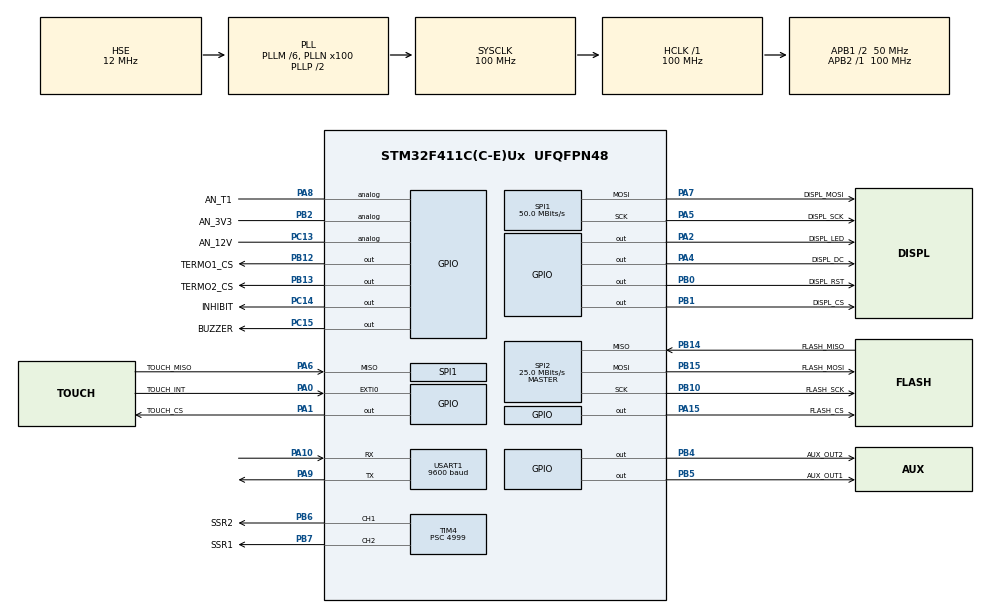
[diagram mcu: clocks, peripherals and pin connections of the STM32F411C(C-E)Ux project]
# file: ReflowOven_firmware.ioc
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Dma.Request0=SPI1_TX
Dma.SPI1_TX.0.Direction=DMA_MEMORY_TO_PERIPH
Dma.SPI1_TX.0.FIFOMode=DMA_FIFOMODE_DISABLE
Dma.SPI1_TX.0.Instance=DMA2_Stream2
Dma.SPI1_TX.0.MemDataAlignment=DMA_MDATAALIGN_BYTE
Dma.SPI1_TX.0.MemInc=DMA_MINC_ENABLE
Dma.SPI1_TX.0.Mode=DMA_NORMAL
Dma.SPI1_TX.0.PeriphDataAlignment=DMA_PDATAALIGN_BYTE
Dma.SPI1_TX.0.PeriphInc=DMA_PINC_DISABLE
Dma.SPI1_TX.0.Priority=DMA_PRIORITY_LOW
Mcu.Family=STM32F4
Mcu.Name=STM32F411C(C-E)Ux
Mcu.Package=UFQFPN48
NVIC.DMA2_Stream2_IRQn=true\:0\:0\:false\:false\:true\:false\:true\:true
NVIC.EXTI0_IRQn=true\:0\:0\:false\:false\:true\:true\:true\:true
NVIC.PriorityGroup=NVIC_PRIORITYGROUP_4
NVIC.SPI1_IRQn=true\:0\:0\:false\:false\:true\:true\:true\:true
NVIC.TIM2_IRQn=true\:0\:0\:false\:false\:true\:true\:true\:true
NVIC.TIM3_IRQn=true\:0\:0\:false\:false\:true\:true\:true\:true
NVIC.USART1_IRQn=true\:0\:0\:false\:false\:true\:true\:true\:true
PA0-WKUP.GPIO_Label=TOUCH_INT
PA0-WKUP.GPIO_PuPd=GPIO_PULLUP
PA0-WKUP.Signal=GPXTI0
PA1.GPIO_Label=TOUCH_CS
PA1.GPIO_PuPd=GPIO_NOPULL
PA1.GPIO_Speed=GPIO_SPEED_FREQ_HIGH
PA1.PinState=GPIO_PIN_SET
PA1.Signal=GPIO_Output
PA10.Mode=Asynchronous
PA10.Signal=USART1_RX
PA13.Mode=Serial_Wire
PA13.Signal=SYS_JTMS-SWDIO
PA14.Mode=Serial_Wire
PA14.Signal=SYS_JTCK-SWCLK
PA15.GPIO_Label=FLASH_CS
PA15.GPIO_Speed=GPIO_SPEED_FREQ_LOW
PA15.PinState=GPIO_PIN_SET
PA15.Signal=GPIO_Output
PA2.GPIO_Label=DISPL_LED
PA2.Signal=GPIO_Output
PA4.GPIO_Label=DISPL_DC
PA4.GPIO_Speed=GPIO_SPEED_FREQ_LOW
PA4.Signal=GPIO_Output
PA5.GPIO_Label=DISPL_SCK
PA5.Mode=Full_Duplex_Master
PA5.Signal=SPI1_SCK
PA6.GPIO_Label=TOUCH_MISO
PA6.Mode=Full_Duplex_Master
PA6.Signal=SPI1_MISO
PA7.GPIO_Label=DISPL_MOSI
PA7.Mode=Full_Duplex_Master
PA7.Signal=SPI1_MOSI
PA8.GPIO_Label=AN_T1
PA8.Signal=GPIO_Analog
PA9.Mode=Asynchronous
PA9.Signal=USART1_TX
PB0.GPIO_Label=DISPL_RST
PB0.GPIO_Speed=GPIO_SPEED_FREQ_VERY_HIGH
PB0.Signal=GPIO_Output
PB1.GPIO_Label=DISPL_CS
PB1.GPIO_PuPd=GPIO_NOPULL
PB1.GPIO_Speed=GPIO_SPEED_FREQ_HIGH
PB1.PinState=GPIO_PIN_SET
PB1.Signal=GPIO_Output
PB10.GPIO_Label=FLASH_SCK
PB10.Mode=Full_Duplex_Master
PB10.Signal=SPI2_SCK
PB12.GPIO_Label=TERMO1_CS
PB12.PinState=GPIO_PIN_SET
PB12.Signal=GPIO_Output
PB13.GPIO_Label=TERMO2_CS
PB13.PinState=GPIO_PIN_SET
PB13.Signal=GPIO_Output
PB14.GPIO_Label=FLASH_MISO
PB14.Mode=Full_Duplex_Master
PB14.Signal=SPI2_MISO
PB15.GPIO_Label=FLASH_MOSI
PB15.Mode=Full_Duplex_Master
PB15.Signal=SPI2_MOSI
PB2.GPIO_Label=AN_3V3
PB2.Signal=GPIO_Analog
PB4.GPIO_Label=AUX_OUT2
PB4.Signal=GPIO_Output
PB5.GPIO_Label=AUX_OUT1
PB5.Signal=GPIO_Output
PB6.GPIO_Label=SSR2
PB6.GPIO_Speed=GPIO_SPEED_FREQ_MEDIUM
PB6.Signal=S_TIM4_CH1
PB7.GPIO_Label=SSR1
PB7.GPIO_Speed=GPIO_SPEED_FREQ_MEDIUM
PB7.Signal=S_TIM4_CH2
PC13-ANTI_TAMP.GPIO_Label=AN_12V
PC13-ANTI_TAMP.Signal=GPIO_Analog
PC14-OSC32_IN.GPIO_Label=INHIBIT
PC14-OSC32_IN.Signal=GPIO_Output
PC15-OSC32_OUT.GPIO_Label=BUZZER
PC15-OSC32_OUT.Signal=GPIO_Output
PH0\ -\ OSC_IN.Mode=HSE-External-Oscillator
PH0\ -\ OSC_IN.Signal=RCC_OSC_IN
PH1\ -\ OSC_OUT.Mode=HSE-External-Oscillator
PH1\ -\ OSC_OUT.Signal=RCC_OSC_OUT
ProjectManager.HeapSize=0x200
ProjectManager.StackSize=0x400
ProjectManager.TargetToolchain=STM32CubeIDE
RCC.48MHZClocksFreq_Value=25000000
RCC.AHBFreq_Value=100000000
RCC.APB1CLKDivider=RCC_HCLK_DIV2
RCC.APB1Freq_Value=50000000
RCC.APB1TimFreq_Value=100000000
RCC.APB2Freq_Value=100000000
RCC.APB2TimFreq_Value=100000000
RCC.CortexFreq_Value=100000000
RCC.HCLKFreq_Value=100000000
RCC.HSE_VALUE=12000000
RCC.HSI_VALUE=16000000
RCC.LSE_VALUE=32768
RCC.PLLM=6
RCC.PLLN=100
RCC.PLLQ=8
RCC.PLLSourceVirtual=RCC_PLLSOURCE_HSE
RCC.SYSCLKFreq_VALUE=100000000
RCC.SYSCLKSource=RCC_SYSCLKSOURCE_PLLCLK
RCC.VCOOutputFreq_Value=200000000
SH.S_TIM4_CH1.0=TIM4_CH1,PWM Generation1 CH1
SH.S_TIM4_CH2.0=TIM4_CH2,PWM Generation2 CH2
SPI1.CalculateBaudRate=50.0 MBits/s
SPI1.Direction=SPI_DIRECTION_2LINES
SPI1.Mode=SPI_MODE_MASTER
SPI1.VirtualType=VM_MASTER
SPI2.CalculateBaudRate=25.0 MBits/s
SPI2.Direction=SPI_DIRECTION_2LINES
SPI2.Mode=SPI_MODE_MASTER
SPI2.VirtualType=VM_MASTER
STMicroelectronics.X-CUBE-TOUCHGFX.4.25.0.ApplicationCcGraphicsJjApplication=TouchGFXOoGenerator
STMicroelectronics.X-CUBE-TOUCHGFX.4.25.0.tgfx_buffering_strategy=Partial
STMicroelectronics.X-CUBE-TOUCHGFX.4.25.0.tgfx_custom_height=320
STMicroelectronics.X-CUBE-TOUCHGFX.4.25.0.tgfx_custom_width=480
STMicroelectronics.X-CUBE-TOUCHGFX.4.25.0.tgfx_datareader=Enabled
STMicroelectronics.X-CUBE-TOUCHGFX.4.25.0.tgfx_datareader_mem_size=2097152
STMicroelectronics.X-CUBE-TOUCHGFX.4.25.0_IsPackSelfContextualization=true
TIM2.AutoReloadPreload=TIM_AUTORELOAD_PRELOAD_DISABLE
TIM2.Channel-PWM\ Generation3\ CH3=TIM_CHANNEL_3
TIM2.Period=4000
TIM2.Prescaler=4999
TIM3.AutoReloadPreload=TIM_AUTORELOAD_PRELOAD_ENABLE
TIM3.Period=62499
TIM4.AutoReloadPreload=TIM_AUTORELOAD_PRELOAD_ENABLE
TIM4.Channel-PWM\ Generation1\ CH1=TIM_CHANNEL_1
TIM4.Channel-PWM\ Generation2\ CH2=TIM_CHANNEL_2
TIM4.OCPolarity_1=TIM_OCPOLARITY_HIGH
TIM4.OCPolarity_2=TIM_OCPOLARITY_HIGH
TIM4.Period=19999
TIM4.Prescaler=4999
USART1.BaudRate=9600
USART1.VirtualMode=VM_ASYNC
VP_CRC_VS_CRC.Mode=CRC_Activate
VP_STMicroelectronics.X-CUBE-TOUCHGFX_VS_GraphicsJjApplication_4.25.0.Mode=GraphicsJjApplication
VP_TIM2_VS_ClockSourceINT.Mode=Internal
VP_TIM3_VS_ClockSourceINT.Mode=Internal
VP_TIM4_VS_ClockSourceINT.Mode=Internal
board=custom

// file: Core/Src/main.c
/* USER CODE BEGIN Header */
/**
  ******************************************************************************
  * @file           : main.c
  * @brief          : Main program body
  ******************************************************************************
  * @attention
  *
  * Copyright (c) 2024 STMicroelectronics.
  * All rights reserved.
  *
  * This software is licensed under terms that can be found in the LICENSE file
  * in the root directory of this software component.
  * If no LICENSE file comes with this software, it is provided AS-IS.
  *
  ******************************************************************************
  */
/* USER CODE END Header */
#include "main.h"
#include "app_touchgfx.h"

CRC_HandleTypeDef hcrc;

SPI_HandleTypeDef hspi1;
SPI_HandleTypeDef hspi2;
DMA_HandleTypeDef hdma_spi1_tx;

TIM_HandleTypeDef htim2;
TIM_HandleTypeDef htim3;
TIM_HandleTypeDef htim4;

UART_HandleTypeDef huart1;

void SystemClock_Config(void);
static void MX_GPIO_Init(void);
static void MX_DMA_Init(void);
static void MX_USART1_UART_Init(void);
static void MX_SPI1_Init(void);
static void MX_CRC_Init(void);
static void MX_SPI2_Init(void);
static void MX_TIM3_Init(void);
static void MX_TIM2_Init(void);
static void MX_TIM4_Init(void);
/* USER CODE BEGIN PFP */
// Define structs
Thermocouple thermocouple1;
Thermocouple thermocouple2;

/* USER CODE END PFP */

/* USER CODE BEGIN 0 */

// Default values for oven preset
OvenParameters ovenParameters = {

		// device operating variables
		.initEnd = 0,
		.deviceState = 0,
		.pageChageNo = 0,
		.reflowSetupStep = 0,
		.pidSetupStep = 0,
		.tempNTC = 0.0f,
		.tempThermo = 0.0f,
		.PID_trig = 0,
		.saveFlash = 0,
		.reflowStage = 0,
		.tempSPDelta = 0,
		.setpointCal = 1,
		.totalReflowTime = 0,
		.endTimeStage = 1,
		.tempThermoAvg = 0,
		.addPoint = 0,
		.profileNoEdit = 0,

		// retentive variables
		.Kp = 10.0f,	// 3.96
		.Ki = 0.1f,		// 0.078
		.Kd = 4.5f,		// 49.5
		.profileNoSelected = 2,
		.lastUsedMode = 0,

		.dualProbes = 0,
		.dualSSRs = 0,
		.units = 0,
		.AUX1 = 0,
		.AUX2 = 0,
		.firstBoot = 0,

		// device runing variables
		.startStop = 0,
		.actionTick = 0,
		.cntTimerTick = 0,
		.cntSecond = 0,
		.cntMinute = 0,
		.cntHour = 0
};

// Default values for profiles
ReflowProfiles reflowProfiles = {
		.profile1Temp = {150, 160, 210, 210, 20},
		.profile1Time = {120, 140, 390, 400, 450},

		.profile2Temp = {100, 150, 183, 183, 20},
		.profile2Time = {100, 220, 280, 340, 400},

		.profile3Temp = {100, 150, 183, 183, 20},
		.profile3Time = {100, 220, 280, 340, 400},

		.profile4Temp = {100, 150, 183, 183, 20},
		.profile4Time = {100, 220, 280, 340, 400},

		.profile5Temp = {100, 150, 183, 183, 20},
		.profile5Time = {100, 220, 280, 340, 400}
};

// Default values for drying
DryPreset dryPreset = {
		.dryTemp = 100,
		.dryTime = 60
};

// Default values for error codes
OvenErrorCodes ovenErrorCodes = {
		.ADC12V = 0,
		.ADC3V3 = 0,
		.NTCErr = 0,
		.thermoCouple1Err = 0,
		.thermoCouple2Err = 0
};

// variables init
float AN_V_12V = 0;				// Measured 12V voltage
float AN_V_3V3 = 0;				// Measured 3.3V voltage
uint8_t INHIBIT = 0;			// enable 12V bus

uint8_t saveToFlash = 0;		// protect writing to flash every time (connected with KEEP_FLASH_DATA)
float tempAVG1[5] = {};			// values of temp from thermocouple 1 in one second to calculate average value
float tempAVG2[5] = {};			// values of temp from thermocouple 2 in one second to calculate average value
uint8_t cntTempArray = 0;		// counter for temperature array
uint8_t endOfCycle = 0;			// flag to indicate the end of drying or reflow
float startingTemp = 0; 		// used to set setpoints
uint16_t endTemp = 0;			// temperature expected at the end of each step
uint8_t thermalRnwyCnt = 0;		// counter for thermal runaway time - one tick is one second
uint16_t rnwyTempOld = 0;		// previous temp value for detecting thermal runaways

/* USER CODE END 0 */

int main(void)
{

  /* USER CODE BEGIN 1 */

	// TODO: Celsius -> Fahrenheit

	// PID parameters
	PID pid;
	PIDInit(&pid);

  /* USER CODE END 1 */

  /* MCU Configuration--------------------------------------------------------*/

  /* Reset of all peripherals, Initializes the Flash interface and the Systick. */
  HAL_Init();

  /* Configure the system clock */
  SystemClock_Config();

  /* Initialize all configured peripherals */
  MX_GPIO_Init();
  MX_DMA_Init();
  MX_USART1_UART_Init();
  MX_SPI1_Init();
  MX_CRC_Init();
  MX_SPI2_Init();
  MX_TIM3_Init();
  MX_TIM2_Init();
  MX_TIM4_Init();
  MX_TouchGFX_Init();
  /* USER CODE BEGIN 2 */

  // Set default state of CS and other pins
  HAL_GPIO_WritePin(TOUCH_CS_GPIO_Port, TOUCH_CS_Pin, GPIO_PIN_SET);
  HAL_GPIO_WritePin(DISPL_CS_GPIO_Port, DISPL_CS_Pin, GPIO_PIN_SET);
  HAL_GPIO_WritePin(FLASH_CS_GPIO_Port, FLASH_CS_Pin, GPIO_PIN_SET);
  HAL_GPIO_WritePin(TERMO1_CS_GPIO_Port, TERMO1_CS_Pin, GPIO_PIN_SET);
  HAL_GPIO_WritePin(TERMO2_CS_GPIO_Port, TERMO2_CS_Pin, GPIO_PIN_SET);
  HAL_GPIO_WritePin(AUX_OUT1_GPIO_Port, AUX_OUT1_Pin, GPIO_PIN_RESET);
  HAL_GPIO_WritePin(AUX_OUT2_GPIO_Port, AUX_OUT2_Pin, GPIO_PIN_RESET);
  HAL_GPIO_WritePin(DISPL_LED_GPIO_Port, DISPL_LED_Pin, GPIO_PIN_SET);

  Displ_Init(Displ_Orientat_90);			// initialize display controller - set orientation parameter as per TouchGFX setup
  Displ_BackLight('I');  					// initialize backlight
  touchgfxSignalVSync();
  HAL_TIM_Base_Start_IT(&TGFX_T);			// start TouchGFX tick timer

  /* USER CODE END 2 */

  /* Infinite loop */
  /* USER CODE BEGIN WHILE */

  while (1)
  {

	  if (Touch_GotATouch(0))
		  touchgfxSignalVSync();
    /* USER CODE END WHILE */

  MX_TouchGFX_Process();
    /* USER CODE BEGIN 3 */

	  // Timer interrupt trigger (5Hz)
	  if (ovenParameters.actionTick == 1)
	  {
		  // To start timer the device must be in run mode (startStop = 1)
		  if (ovenParameters.startStop == 1)
		  {
			  // Ticks to seconds
			  // that part of code is implemented in interrupt routine becouse of precision

			  // Seconds to minutes
			  if (ovenParameters.cntSecond >= secInMin)
			  {
				  ovenParameters.cntSecond = 0;
				  ovenParameters.cntMinute ++;

				// THERMAL RUNAWAY LOGIC //
				/* if the device has enabled one or both SSRs and
				 * the temperature doesn't reach setted delta temerature
				 * the error is triggered
				*/
				#ifdef THERMAL_RUNAWAY_EN
				  rnwyTempOld = ovenParameters.tempThermoAvg;

				  if (ovenParameters.dualSSRs == 0)				 // The value can be adjusted
				  {
					  if (TIM4->CCR2 > 5000)
					  {
						  thermalRnwyCnt = ((rnwyTempOld - ovenParameters.tempThermoAvg) < RUNAWAY_TEMP) ? (thermalRnwyCnt + 1) : 0;
					  }
				  }
				  else
				  {
					  if (TIM4->CCR2 > 5000 || TIM4->CCR1 > 5000) // The value can be adjusted
					  {
						  thermalRnwyCnt = ((rnwyTempOld - ovenParameters.tempThermoAvg) < RUNAWAY_TEMP) ? (thermalRnwyCnt + 1) : 0;
					  }
				  }

				  // trigger the thermal runaway error
				  if (thermalRnwyCnt >= RUNAWAY_TIME)
				  {
					  ovenErrorCodes.thermalRunaway ++;
					  ovenParameters.deviceState = STATE_ERROR;
				  }

				  rnwyTempOld = ovenParameters.tempThermoAvg;	 // save current temp as old temp
				#endif
			  }

			  // Minutes to hours
			  if (ovenParameters.cntMinute >= minInH)
			  {
				  ovenParameters.cntMinute = 0;
				  ovenParameters.cntHour ++;
			  }

			  if (ovenParameters.deviceState == STATE_DRY)
			  {
				  uint32_t timeDryEst = dryPreset.dryTime - (ovenParameters.cntHour * 60 + ovenParameters.cntMinute);
				  if (timeDryEst == 0 && ovenParameters.startStop == 1 && (ovenParameters.cntHour != 0 || ovenParameters.cntMinute != 0)) endOfCycle = 1;
			  }
			  else if (ovenParameters.deviceState == STATE_REFLOW)
			  {
				  uint32_t timeReflowEst = ovenParameters.totalReflowTime - (ovenParameters.cntMinute * 60 + ovenParameters.cntSecond);
				  if (timeReflowEst == 0 && ovenParameters.startStop == 1 && ovenParameters.totalReflowTime != 0) endOfCycle = 1;
			  }

		  }
		  else
		  {
			  ovenParameters.cntHour = 0;
			  ovenParameters.cntMinute = 0;
			  ovenParameters.cntSecond = 0;
			  TIM4->CCR2 = 0;
			  TIM4->CCR1 = 0;
		  }

		  // Calculate average temperatures used for regulation
		  if (cntTempArray >= tickInSec)
		  {
			  pid.tempAVGThermo1 = 0;
			  pid.tempAVGThermo2 = 0;

			  if (ovenParameters.dualProbes == 0)
			  {
				  for (uint8_t i = 0; i < tickInSec; i++)
				  {
					  pid.tempAVGThermo1 += tempAVG1[i];
				  }

				  pid.tempAVGThermo1 = pid.tempAVGThermo1 / tickInSec;
				  ovenParameters.tempThermoAvg = pid.tempAVGThermo1;

				  // Over temperature protection
				  if (ovenParameters.tempThermoAvg >= OVERTEMP_ERR)
				  {
					  ovenErrorCodes.overTemp ++;
					  ovenParameters.startStop = 0;
					  ovenParameters.deviceState = STATE_ERROR;
				  }
			  }

			  if (ovenParameters.dualProbes == 1)
			  {
				  for (uint8_t i = 0; i < tickInSec; i++)
				  {
					  pid.tempAVGThermo1 += tempAVG1[i];
					  pid.tempAVGThermo2 += tempAVG2[i];
				  }

				  pid.tempAVGThermo1 = pid.tempAVGThermo1 / tickInSec;
				  pid.tempAVGThermo2 = pid.tempAVGThermo2 / tickInSec;

				  ovenParameters.tempThermoAvg = (pid.tempAVGThermo1 + pid.tempAVGThermo2) / 2;

				  // Over temperature protection
				  if (ovenParameters.tempThermoAvg >= OVERTEMP_ERR)
				  {
					  ovenErrorCodes.overTemp ++;
					  ovenParameters.startStop = 0;
					  ovenParameters.deviceState = STATE_ERROR;
				  }
			  }

			  // Clear array
			  for (uint8_t i = 0; i < tickInSec; i++)
			  {
				  tempAVG1[i] = 0;
				  tempAVG2[i] = 0;
			  }

			  cntTempArray = 0;
		  }

		  // Read thermocouple 1
		  if (ovenParameters.dualProbes == 0)
		  {
			  ReadThermocoupleTemp(&thermocouple1, &hspi2, TERMO1_CS_GPIO_Port, TERMO1_CS_Pin);
			  if (thermocouple1.cntFault == 5)
			  {
				  ovenParameters.deviceState = STATE_ERROR;
				  ovenErrorCodes.thermoCouple1Err = 1;
			  }

			  tempAVG1[cntTempArray] = thermocouple1.temperature_C;

			  ovenParameters.tempThermo = thermocouple1.temperature_C; // get temp to show on screen
		  }

		  // Read thermocouple 1 and thermocouple 2
		  if (ovenParameters.dualProbes == 1)
		  {
			  ReadThermocoupleTemp(&thermocouple1, &hspi2, TERMO1_CS_GPIO_Port, TERMO1_CS_Pin);
			  if (thermocouple1.cntFault == 5)
			  {
				  ovenParameters.deviceState = STATE_ERROR;
				  ovenErrorCodes.thermoCouple1Err = 1;
			  }

			  tempAVG1[cntTempArray] = thermocouple1.temperature_C;

			  ReadThermocoupleTemp(&thermocouple2, &hspi2, TERMO2_CS_GPIO_Port, TERMO2_CS_Pin);
			  if (thermocouple2.cntFault == 5)
			  {
				  ovenParameters.deviceState = STATE_ERROR;
				  ovenErrorCodes.thermoCouple2Err = 1;
			  }

			  tempAVG2[cntTempArray] = thermocouple2.temperature_C;

			  ovenParameters.tempThermo = thermocouple1.temperature_C;
			  ovenParameters.tempThermo += thermocouple2.temperature_C;
			  ovenParameters.tempThermo = ovenParameters.tempThermo / 2; // get average temp from both probes to show on screen
		  }

		  cntTempArray ++;

		  // Print data on serial port
			#ifdef UART_EN
			  // Print data
			  char message[50] = {'\0'};
			  sprintf((char *)message, "Probe1 = %.2f\r\n", ovenParameters.tempThermo); // added tick in settings to allow float serial data
			  HAL_UART_Transmit(&huart1, (uint8_t*)message, strlen((char*)message), 100);
			#endif

		  // RESET TICK TIMER - timer callback declared in z_displ_ILI9XXX.h file
		  ovenParameters.actionTick = 0;

	  }

	  // Save variables to flash
	  if (ovenParameters.saveFlash == 1)
	  {
		  WriteVarToFlash();
	  }

	  ///////////// STATE MACHINE /////////////
	  switch(ovenParameters.deviceState)
	  {
	  case STATE_INIT:
		  //////////////////////////////////////////////////////////////////////////////////////////////////////

		  uint8_t err = 0; // error
		  uint8_t erase = 0;

		  // FLASH
		  if (!Flash_Init())
		  {
			while(1){}
		  }

		  // Detect if these is the first boot after firmware uploading (var .firstBoot is from flash)
		#ifndef KEEP_FLASH_DATA
		  erase = 1;
		#endif

		  // Read all variables that are saved in flash
		  ReadVarFromFlash(erase);

		  if (ovenParameters.firstBoot == 1)
		  {
			#ifdef DUAL_PROBE
		  	  ovenParameters.dualProbes = 1;
			#endif

			#ifdef DUAL_SSR
		  	  ovenParameters.dualSSRs = 1;
			#endif

			#ifdef AUX1_EN
		  	  ovenParameters.AUX1 = 1;
			#endif

			#ifdef AUX2_EN
		  	  ovenParameters.AUX2 = 1;
			#endif

		  	  // Detect first boot and save the default variables
		  	  ovenParameters.firstBoot = 0;
		  	  WriteVarToFlash();
		  }

		  HAL_Delay(1000); // wait 1 second for all devices to power on

		  // Set variables to starting values
		  ovenParameters.profileNoEdit = ovenParameters.profileNoSelected;

		  // TODO:
		  // ... read
		  AN_V_12V = 12;  // DELETE
		  AN_V_3V3 = 3.3; // DELETE
		  // Check input voltage //
		  if (AN_V_12V < MIN_IN_VOLTAGE)
		  {
			  err++;
			  ovenErrorCodes.ADC12V = 1;
		  }

		  // Check buck output voltage //
		  if (AN_V_3V3 < MIN_BUCK_VOLTAGE)
		  {
			  err++;
			  ovenErrorCodes.ADC3V3 = 1;
		  }

		  // Check thermocouples //
		  // Probe 1
		  if (ovenParameters.dualProbes == 0)
		  {
			  CheckThermocouple(&thermocouple1, &hspi2, TERMO1_CS_GPIO_Port, TERMO1_CS_Pin);
			  if (thermocouple1.fault == 1)
			  {
				  ovenErrorCodes.thermoCouple1Err = 1;
				  err++;
			  }
		  }

		  // Probe 2
		  if (ovenParameters.dualProbes == 1)
		  {
			  CheckThermocouple(&thermocouple1, &hspi2, TERMO1_CS_GPIO_Port, TERMO1_CS_Pin);
			  if (thermocouple1.fault == 1)
			  {
				  ovenErrorCodes.thermoCouple1Err = 1;
				  err++;
			  }

			  CheckThermocouple(&thermocouple2, &hspi2, TERMO2_CS_GPIO_Port, TERMO2_CS_Pin);
			  if (thermocouple2.fault == 1)
			  {
				  ovenErrorCodes.thermoCouple2Err = 1;
				  err++;
			  }
		  }

		  // NTC temperature //
		  // ... read
		  ovenParameters.tempNTC = 30; // DELETE

		  if (ovenParameters.tempNTC > NTC_MAX_TEMP)
		  {
			  err++;
			  ovenErrorCodes.NTCErr = 1;
		  }

		  // Check error counter //
		  if (err > 0)
		  {
			  ovenParameters.deviceState = STATE_ERROR; // Send device to error state
			 HAL_Delay(2000);

			 ovenParameters.initEnd = 1;
			 // change screen
			 ovenParameters.pageChageNo = 3; 			// Error
		  }
		  else
		  {
			  HAL_GPIO_WritePin(INHIBIT_GPIO_Port, INHIBIT_Pin, GPIO_PIN_SET); // Enable inhibit
			  ovenParameters.initEnd = 1;
			  rnwyTempOld = ovenParameters.tempThermo; 		// set start/default temp value

			#ifndef PID_CAL
				  HAL_TIM_PWM_Start(&htim4, TIM_CHANNEL_2); // enable output for SSR1
				  TIM4->CCR2 = 0;

				  HAL_TIM_PWM_Start(&htim4, TIM_CHANNEL_1); // enable output for SSR2
				  TIM4->CCR1 = 0;
			#endif

			  // continue in reflow mode
			  if (ovenParameters.lastUsedMode == 0)
			  {
				  HAL_Delay(2000);
				  // change screen
				  ovenParameters.deviceState = STATE_REFLOW;
				  ovenParameters.pageChageNo = 1; 			// Reflow
			  }

			  // continue in drying mode
			  if (ovenParameters.lastUsedMode == 1)
			  {
				  HAL_Delay(2000);
				  // change screen
				  ovenParameters.deviceState = STATE_DRY;
				  ovenParameters.pageChageNo = 2; 			// Dry
			  }
		  }

		  break;

	  case STATE_ERROR:
		  //////////////////////////////////////////////////////////////////////////////////////////////////////
		  // DO NOTHING, INVESTIGATE THE PROBLEM
		  break;

	  case STATE_REFLOW:
		  //////////////////////////////////////////////////////////////////////////////////////////////////////

		  // End of reflow profile
		  if (endOfCycle == 1)
		  {
			  ovenParameters.startStop = 0; // end of reflow
			  TIM4->CCR2 = 0;
			  endOfCycle = 0;
			  ovenParameters.reflowStage = 0;
			  ovenParameters.setpointCal = 1;
			  HAL_GPIO_WritePin(BUZZER_GPIO_Port, BUZZER_Pin, GPIO_PIN_SET);
			  HAL_Delay(50);
			  HAL_GPIO_WritePin(BUZZER_GPIO_Port, BUZZER_Pin, GPIO_PIN_RESET);
		  }

		  // Get current time of reflow in seconds
		  uint16_t timeSeconds = ovenParameters.cntMinute * 60 + ovenParameters.cntSecond;

		  // Calculate delta to use as setpoint, trigered every stage change (5 times)
		  if (ovenParameters.setpointCal == 0)
		  {
			  uint16_t startTime = 0;
			  uint16_t reflowTimeDelta = 0;
			  uint16_t startTemp = round(ovenParameters.tempThermo); // can be used even these value
			  uint16_t endTime = 0;
			  int16_t tempdelta = 0;
			  ovenParameters.tempSPDelta = 0;

			  // set end time of current stage
			  switch(ovenParameters.profileNoSelected)
			  {
				  case 1:
					  // Get entire time of profile
					  ovenParameters.totalReflowTime = reflowProfiles.profile1Time[4];

					  // get time delta between two stages
					  if (ovenParameters.reflowStage != 0) startTime = reflowProfiles.profile1Time[ovenParameters.reflowStage - 1];
					  endTime = reflowProfiles.profile1Time[ovenParameters.reflowStage];
					  ovenParameters.endTimeStage = endTime;
					  reflowTimeDelta = endTime - startTime;

					  // get temp delta to set setpoint
					  if (ovenParameters.reflowStage != 0) startTemp = reflowProfiles.profile1Temp[ovenParameters.reflowStage - 1];
					  tempdelta = reflowProfiles.profile1Temp[ovenParameters.reflowStage] - startTemp;
					  ovenParameters.tempSPDelta = tempdelta / (float)reflowTimeDelta;

					  // get stage end temp
					  endTemp = reflowProfiles.profile1Temp[ovenParameters.reflowStage];

					  // set starting temp
					  startingTemp = round(ovenParameters.tempThermo);

					  break;

				  case 2:
					  // Get entire time of profile
					  ovenParameters.totalReflowTime = reflowProfiles.profile2Time[4];

					  // get time delta between two stages
					  if (ovenParameters.reflowStage != 0) startTime = reflowProfiles.profile2Time[ovenParameters.reflowStage - 1];
					  endTime = reflowProfiles.profile2Time[ovenParameters.reflowStage];
					  ovenParameters.endTimeStage = endTime;
					  reflowTimeDelta = endTime - startTime;

					  // get temp delta to set setpoint
					  if (ovenParameters.reflowStage != 0) startTemp = reflowProfiles.profile2Temp[ovenParameters.reflowStage - 1];
					  tempdelta = reflowProfiles.profile2Temp[ovenParameters.reflowStage] - startTemp;
					  ovenParameters.tempSPDelta = (tempdelta / (float)reflowTimeDelta);

					  // get stage end temp
					  endTemp = reflowProfiles.profile2Temp[ovenParameters.reflowStage];

					  // set starting temp
					  startingTemp = round(ovenParameters.tempThermo);

					  break;

				  case 3:
					  // Get entire time of profile
					  ovenParameters.totalReflowTime = reflowProfiles.profile3Time[4];

					  // get time delta between two stages
					  if (ovenParameters.reflowStage != 0) startTime = reflowProfiles.profile3Time[ovenParameters.reflowStage - 1];
					  endTime = reflowProfiles.profile3Time[ovenParameters.reflowStage];
					  ovenParameters.endTimeStage = endTime;
					  reflowTimeDelta = endTime - startTime;

					  // get temp delta to set setpoint
					  if (ovenParameters.reflowStage != 0) startTemp = reflowProfiles.profile3Temp[ovenParameters.reflowStage - 1];
					  tempdelta = reflowProfiles.profile3Temp[ovenParameters.reflowStage] - startTemp;
					  ovenParameters.tempSPDelta = (tempdelta / (float)reflowTimeDelta);

					  // get stage end temp
					  endTemp = reflowProfiles.profile3Temp[ovenParameters.reflowStage];

					  // set starting temp
					  startingTemp = round(ovenParameters.tempThermo);

					  break;

				  case 4:
					  // Get entire time of profile
					  ovenParameters.totalReflowTime = reflowProfiles.profile4Time[4];

					  // get time delta between two stages
					  if (ovenParameters.reflowStage != 0) startTime = reflowProfiles.profile4Time[ovenParameters.reflowStage - 1];
					  endTime = reflowProfiles.profile4Time[ovenParameters.reflowStage];
					  ovenParameters.endTimeStage = endTime;
					  reflowTimeDelta = endTime - startTime;

					  // get temp delta to set setpoint
					  if (ovenParameters.reflowStage != 0) startTemp = reflowProfiles.profile4Temp[ovenParameters.reflowStage - 1];
					  tempdelta = reflowProfiles.profile4Temp[ovenParameters.reflowStage] - startTemp;
					  ovenParameters.tempSPDelta = (tempdelta / (float)reflowTimeDelta);

					  // get stage end temp
					  endTemp = reflowProfiles.profile4Temp[ovenParameters.reflowStage];

					  // set starting temp
					  startingTemp = round(ovenParameters.tempThermo);

					  break;

				  case 5:
					  // Get entire time of profile
					  ovenParameters.totalReflowTime = reflowProfiles.profile5Time[4];

					  // get time delta between two stages
					  if (ovenParameters.reflowStage != 0) startTime = reflowProfiles.profile5Time[ovenParameters.reflowStage - 1];
					  endTime = reflowProfiles.profile5Time[ovenParameters.reflowStage];
					  ovenParameters.endTimeStage = endTime;
					  reflowTimeDelta = endTime - startTime;

					  // get temp delta to set setpoint
					  if (ovenParameters.reflowStage != 0) startTemp = reflowProfiles.profile5Temp[ovenParameters.reflowStage - 1];
					  tempdelta = reflowProfiles.profile5Temp[ovenParameters.reflowStage] - startTemp;
					  ovenParameters.tempSPDelta = (tempdelta / (float)reflowTimeDelta);

					  // get stage end temp
					  endTemp = reflowProfiles.profile5Temp[ovenParameters.reflowStage];

					  // set starting temp
					  startingTemp = round(ovenParameters.tempThermo);

					  break;
			  }

			  ovenParameters.setpointCal = 1;
		  }

		  // PID calculation
		  if (ovenParameters.PID_trig == 1)
		  {
			  // increase setpoint
			  if (startingTemp < endTemp && ovenParameters.reflowStage != 4) startingTemp = startingTemp + ovenParameters.tempSPDelta;

			  // cooling
			  if (startingTemp > endTemp && ovenParameters.reflowStage == 4) startingTemp = 0; // Turn OFF heater
			  //if (startingTemp > endTemp && ovenParameters.reflowStage == 4) startingTemp = round(startingTemp) + ovenParameters.tempSPDelta; // Hold constant drop with heater

			  TIM4->CCR2 =  PIDcalculation(&pid, &startingTemp); // set SSR1 Duty (Timer 4 channel 2)
			  ovenParameters.PID_trig = 0; // reset pid calculate flag
			  ovenParameters.addPoint = 1;
		  }

		  // Detect time to end current stage of reflow
		  if (timeSeconds == ovenParameters.endTimeStage && ovenParameters.reflowStage != 4)
		  {
			ovenParameters.setpointCal = 0; // trigger recalculation of parameters
			ovenParameters.reflowStage ++;	// move to next stage
		  }

		  break;

	  case STATE_DRY:
		  //////////////////////////////////////////////////////////////////////////////////////////////////////

		  if (endOfCycle == 1)
		  {
			  TIM4->CCR2 = 0;
			  ovenParameters.startStop = 0; 						// end of drying
			  endOfCycle = 0;
		  }

		  if (ovenParameters.PID_trig == 1)
		  {
			  float dryTempPresset = (float)dryPreset.dryTemp;
			  TIM4->CCR2 =  PIDcalculation(&pid, &dryTempPresset); 	// set SSR1 Duty (Timer 4 channel 2)
			  ovenParameters.PID_trig = 0; 							// reset pid calculate flag
		  }

		  break;

	  default:
		  //////////////////////////////////////////////////////////////////////////////////////////////////////
		  // DO NOTHING
		  break;

	  }

  }
  /* USER CODE END 3 */
}

void SystemClock_Config(void)
{
  RCC_OscInitTypeDef RCC_OscInitStruct = {0};
  RCC_ClkInitTypeDef RCC_ClkInitStruct = {0};

  /** Configure the main internal regulator output voltage
  */
  __HAL_RCC_PWR_CLK_ENABLE();
  __HAL_PWR_VOLTAGESCALING_CONFIG(PWR_REGULATOR_VOLTAGE_SCALE1);

  /** Initializes the RCC Oscillators according to the specified parameters
  * in the RCC_OscInitTypeDef structure.
  */
  RCC_OscInitStruct.OscillatorType = RCC_OSCILLATORTYPE_HSE;
  RCC_OscInitStruct.HSEState = RCC_HSE_ON;
  RCC_OscInitStruct.PLL.PLLState = RCC_PLL_ON;
  RCC_OscInitStruct.PLL.PLLSource = RCC_PLLSOURCE_HSE;
  RCC_OscInitStruct.PLL.PLLM = 6;
  RCC_OscInitStruct.PLL.PLLN = 100;
  RCC_OscInitStruct.PLL.PLLP = RCC_PLLP_DIV2;
  RCC_OscInitStruct.PLL.PLLQ = 8;
  if (HAL_RCC_OscConfig(&RCC_OscInitStruct) != HAL_OK)
  {
    Error_Handler();
  }

  /** Initializes the CPU, AHB and APB buses clocks
  */
  RCC_ClkInitStruct.ClockType = RCC_CLOCKTYPE_HCLK|RCC_CLOCKTYPE_SYSCLK
                              |RCC_CLOCKTYPE_PCLK1|RCC_CLOCKTYPE_PCLK2;
  RCC_ClkInitStruct.SYSCLKSource = RCC_SYSCLKSOURCE_PLLCLK;
  RCC_ClkInitStruct.AHBCLKDivider = RCC_SYSCLK_DIV1;
  RCC_ClkInitStruct.APB1CLKDivider = RCC_HCLK_DIV2;
  RCC_ClkInitStruct.APB2CLKDivider = RCC_HCLK_DIV1;

  if (HAL_RCC_ClockConfig(&RCC_ClkInitStruct, FLASH_LATENCY_3) != HAL_OK)
  {
    Error_Handler();
  }
}

static void MX_CRC_Init(void)
{

  hcrc.Instance = CRC;
  if (HAL_CRC_Init(&hcrc) != HAL_OK)
  {
    Error_Handler();
  }

}

static void MX_SPI1_Init(void)
{

  /* SPI1 parameter configuration*/
  hspi1.Instance = SPI1;
  hspi1.Init.Mode = SPI_MODE_MASTER;
  hspi1.Init.Direction = SPI_DIRECTION_2LINES;
  hspi1.Init.DataSize = SPI_DATASIZE_8BIT;
  hspi1.Init.CLKPolarity = SPI_POLARITY_LOW;
  hspi1.Init.CLKPhase = SPI_PHASE_1EDGE;
  hspi1.Init.NSS = SPI_NSS_SOFT;
  hspi1.Init.BaudRatePrescaler = SPI_BAUDRATEPRESCALER_2;
  hspi1.Init.FirstBit = SPI_FIRSTBIT_MSB;
  hspi1.Init.TIMode = SPI_TIMODE_DISABLE;
  hspi1.Init.CRCCalculation = SPI_CRCCALCULATION_DISABLE;
  hspi1.Init.CRCPolynomial = 10;
  if (HAL_SPI_Init(&hspi1) != HAL_OK)
  {
    Error_Handler();
  }

}

static void MX_SPI2_Init(void)
{

  /* SPI2 parameter configuration*/
  hspi2.Instance = SPI2;
  hspi2.Init.Mode = SPI_MODE_MASTER;
  hspi2.Init.Direction = SPI_DIRECTION_2LINES;
  hspi2.Init.DataSize = SPI_DATASIZE_8BIT;
  hspi2.Init.CLKPolarity = SPI_POLARITY_LOW;
  hspi2.Init.CLKPhase = SPI_PHASE_1EDGE;
  hspi2.Init.NSS = SPI_NSS_SOFT;
  hspi2.Init.BaudRatePrescaler = SPI_BAUDRATEPRESCALER_2;
  hspi2.Init.FirstBit = SPI_FIRSTBIT_MSB;
  hspi2.Init.TIMode = SPI_TIMODE_DISABLE;
  hspi2.Init.CRCCalculation = SPI_CRCCALCULATION_DISABLE;
  hspi2.Init.CRCPolynomial = 10;
  if (HAL_SPI_Init(&hspi2) != HAL_OK)
  {
    Error_Handler();
  }

}

static void MX_TIM2_Init(void)
{

  TIM_ClockConfigTypeDef sClockSourceConfig = {0};
  TIM_MasterConfigTypeDef sMasterConfig = {0};

  htim2.Instance = TIM2;
  htim2.Init.Prescaler = 4999;
  htim2.Init.CounterMode = TIM_COUNTERMODE_UP;
  htim2.Init.Period = 4000;
  htim2.Init.ClockDivision = TIM_CLOCKDIVISION_DIV1;
  htim2.Init.AutoReloadPreload = TIM_AUTORELOAD_PRELOAD_DISABLE;
  if (HAL_TIM_Base_Init(&htim2) != HAL_OK)
  {
    Error_Handler();
  }
  sClockSourceConfig.ClockSource = TIM_CLOCKSOURCE_INTERNAL;
  if (HAL_TIM_ConfigClockSource(&htim2, &sClockSourceConfig) != HAL_OK)
  {
    Error_Handler();
  }
  sMasterConfig.MasterOutputTrigger = TIM_TRGO_RESET;
  sMasterConfig.MasterSlaveMode = TIM_MASTERSLAVEMODE_DISABLE;
  if (HAL_TIMEx_MasterConfigSynchronization(&htim2, &sMasterConfig) != HAL_OK)
  {
    Error_Handler();
  }

}

static void MX_TIM3_Init(void)
{

  TIM_ClockConfigTypeDef sClockSourceConfig = {0};
  TIM_MasterConfigTypeDef sMasterConfig = {0};

  htim3.Instance = TIM3;
  htim3.Init.Prescaler = 0;
  htim3.Init.CounterMode = TIM_COUNTERMODE_UP;
  htim3.Init.Period = 62499;
  htim3.Init.ClockDivision = TIM_CLOCKDIVISION_DIV1;
  htim3.Init.AutoReloadPreload = TIM_AUTORELOAD_PRELOAD_ENABLE;
  if (HAL_TIM_Base_Init(&htim3) != HAL_OK)
  {
    Error_Handler();
  }
  sClockSourceConfig.ClockSource = TIM_CLOCKSOURCE_INTERNAL;
  if (HAL_TIM_ConfigClockSource(&htim3, &sClockSourceConfig) != HAL_OK)
  {
    Error_Handler();
  }
  sMasterConfig.MasterOutputTrigger = TIM_TRGO_RESET;
  sMasterConfig.MasterSlaveMode = TIM_MASTERSLAVEMODE_DISABLE;
  if (HAL_TIMEx_MasterConfigSynchronization(&htim3, &sMasterConfig) != HAL_OK)
  {
    Error_Handler();
  }

}

static void MX_TIM4_Init(void)
{

  TIM_ClockConfigTypeDef sClockSourceConfig = {0};
  TIM_MasterConfigTypeDef sMasterConfig = {0};
  TIM_OC_InitTypeDef sConfigOC = {0};

  htim4.Instance = TIM4;
  htim4.Init.Prescaler = 4999;
  htim4.Init.CounterMode = TIM_COUNTERMODE_UP;
  htim4.Init.Period = 19999;
  htim4.Init.ClockDivision = TIM_CLOCKDIVISION_DIV1;
  htim4.Init.AutoReloadPreload = TIM_AUTORELOAD_PRELOAD_ENABLE;
  if (HAL_TIM_Base_Init(&htim4) != HAL_OK)
  {
    Error_Handler();
  }
  sClockSourceConfig.ClockSource = TIM_CLOCKSOURCE_INTERNAL;
  if (HAL_TIM_ConfigClockSource(&htim4, &sClockSourceConfig) != HAL_OK)
  {
    Error_Handler();
  }
  if (HAL_TIM_PWM_Init(&htim4) != HAL_OK)
  {
    Error_Handler();
  }
  sMasterConfig.MasterOutputTrigger = TIM_TRGO_RESET;
  sMasterConfig.MasterSlaveMode = TIM_MASTERSLAVEMODE_DISABLE;
  if (HAL_TIMEx_MasterConfigSynchronization(&htim4, &sMasterConfig) != HAL_OK)
  {
    Error_Handler();
  }
  sConfigOC.OCMode = TIM_OCMODE_PWM1;
  sConfigOC.Pulse = 0;
  sConfigOC.OCPolarity = TIM_OCPOLARITY_HIGH;
  sConfigOC.OCFastMode = TIM_OCFAST_DISABLE;
  if (HAL_TIM_PWM_ConfigChannel(&htim4, &sConfigOC, TIM_CHANNEL_1) != HAL_OK)
  {
    Error_Handler();
  }
  if (HAL_TIM_PWM_ConfigChannel(&htim4, &sConfigOC, TIM_CHANNEL_2) != HAL_OK)
  {
    Error_Handler();
  }
  HAL_TIM_MspPostInit(&htim4);

}

static void MX_USART1_UART_Init(void)
{

  huart1.Instance = USART1;
  huart1.Init.BaudRate = 9600;
  huart1.Init.WordLength = UART_WORDLENGTH_8B;
  huart1.Init.StopBits = UART_STOPBITS_1;
  huart1.Init.Parity = UART_PARITY_NONE;
  huart1.Init.Mode = UART_MODE_TX_RX;
  huart1.Init.HwFlowCtl = UART_HWCONTROL_NONE;
  huart1.Init.OverSampling = UART_OVERSAMPLING_16;
  if (HAL_UART_Init(&huart1) != HAL_OK)
  {
    Error_Handler();
  }

}

static void MX_DMA_Init(void)
{

  /* DMA controller clock enable */
  __HAL_RCC_DMA2_CLK_ENABLE();

  /* DMA interrupt init */
  /* DMA2_Stream2_IRQn interrupt configuration */
  HAL_NVIC_SetPriority(DMA2_Stream2_IRQn, 0, 0);
  HAL_NVIC_EnableIRQ(DMA2_Stream2_IRQn);

}

static void MX_GPIO_Init(void)
{
  GPIO_InitTypeDef GPIO_InitStruct = {0};

  /* GPIO Ports Clock Enable */
  __HAL_RCC_GPIOC_CLK_ENABLE();
  __HAL_RCC_GPIOH_CLK_ENABLE();
  __HAL_RCC_GPIOA_CLK_ENABLE();
  __HAL_RCC_GPIOB_CLK_ENABLE();

  /*Configure GPIO pin Output Level */
  HAL_GPIO_WritePin(GPIOC, INHIBIT_Pin|BUZZER_Pin, GPIO_PIN_RESET);

  /*Configure GPIO pin Output Level */
  HAL_GPIO_WritePin(GPIOA, TOUCH_CS_Pin|FLASH_CS_Pin, GPIO_PIN_SET);

  /*Configure GPIO pin Output Level */
  HAL_GPIO_WritePin(GPIOA, DISPL_LED_Pin|DISPL_DC_Pin, GPIO_PIN_RESET);

  /*Configure GPIO pin Output Level */
  HAL_GPIO_WritePin(GPIOB, DISPL_RST_Pin|AUX_OUT2_Pin|AUX_OUT1_Pin, GPIO_PIN_RESET);

  /*Configure GPIO pin Output Level */
  HAL_GPIO_WritePin(GPIOB, DISPL_CS_Pin|TERMO1_CS_Pin|TERMO2_CS_Pin, GPIO_PIN_SET);

  /*Configure GPIO pin : AN_12V_Pin */
  GPIO_InitStruct.Pin = AN_12V_Pin;
  GPIO_InitStruct.Mode = GPIO_MODE_ANALOG;
  GPIO_InitStruct.Pull = GPIO_NOPULL;
  HAL_GPIO_Init(AN_12V_GPIO_Port, &GPIO_InitStruct);

  /*Configure GPIO pins : INHIBIT_Pin BUZZER_Pin */
  GPIO_InitStruct.Pin = INHIBIT_Pin|BUZZER_Pin;
  GPIO_InitStruct.Mode = GPIO_MODE_OUTPUT_PP;
  GPIO_InitStruct.Pull = GPIO_NOPULL;
  GPIO_InitStruct.Speed = GPIO_SPEED_FREQ_LOW;
  HAL_GPIO_Init(GPIOC, &GPIO_InitStruct);

  /*Configure GPIO pin : TOUCH_INT_Pin */
  GPIO_InitStruct.Pin = TOUCH_INT_Pin;
  GPIO_InitStruct.Mode = GPIO_MODE_IT_RISING;
  GPIO_InitStruct.Pull = GPIO_PULLUP;
  HAL_GPIO_Init(TOUCH_INT_GPIO_Port, &GPIO_InitStruct);

  /*Configure GPIO pin : TOUCH_CS_Pin */
  GPIO_InitStruct.Pin = TOUCH_CS_Pin;
  GPIO_InitStruct.Mode = GPIO_MODE_OUTPUT_PP;
  GPIO_InitStruct.Pull = GPIO_NOPULL;
  GPIO_InitStruct.Speed = GPIO_SPEED_FREQ_HIGH;
  HAL_GPIO_Init(TOUCH_CS_GPIO_Port, &GPIO_InitStruct);

  /*Configure GPIO pins : DISPL_LED_Pin DISPL_DC_Pin FLASH_CS_Pin */
  GPIO_InitStruct.Pin = DISPL_LED_Pin|DISPL_DC_Pin|FLASH_CS_Pin;
  GPIO_InitStruct.Mode = GPIO_MODE_OUTPUT_PP;
  GPIO_InitStruct.Pull = GPIO_NOPULL;
  GPIO_InitStruct.Speed = GPIO_SPEED_FREQ_LOW;
  HAL_GPIO_Init(GPIOA, &GPIO_InitStruct);

  /*Configure GPIO pin : DISPL_RST_Pin */
  GPIO_InitStruct.Pin = DISPL_RST_Pin;
  GPIO_InitStruct.Mode = GPIO_MODE_OUTPUT_PP;
  GPIO_InitStruct.Pull = GPIO_NOPULL;
  GPIO_InitStruct.Speed = GPIO_SPEED_FREQ_VERY_HIGH;
  HAL_GPIO_Init(DISPL_RST_GPIO_Port, &GPIO_InitStruct);

  /*Configure GPIO pin : DISPL_CS_Pin */
  GPIO_InitStruct.Pin = DISPL_CS_Pin;
  GPIO_InitStruct.Mode = GPIO_MODE_OUTPUT_PP;
  GPIO_InitStruct.Pull = GPIO_NOPULL;
  GPIO_InitStruct.Speed = GPIO_SPEED_FREQ_HIGH;
  HAL_GPIO_Init(DISPL_CS_GPIO_Port, &GPIO_InitStruct);

  /*Configure GPIO pin : AN_3V3_Pin */
  GPIO_InitStruct.Pin = AN_3V3_Pin;
  GPIO_InitStruct.Mode = GPIO_MODE_ANALOG;
  GPIO_InitStruct.Pull = GPIO_NOPULL;
  HAL_GPIO_Init(AN_3V3_GPIO_Port, &GPIO_InitStruct);

  /*Configure GPIO pins : TERMO1_CS_Pin TERMO2_CS_Pin AUX_OUT2_Pin AUX_OUT1_Pin */
  GPIO_InitStruct.Pin = TERMO1_CS_Pin|TERMO2_CS_Pin|AUX_OUT2_Pin|AUX_OUT1_Pin;
  GPIO_InitStruct.Mode = GPIO_MODE_OUTPUT_PP;
  GPIO_InitStruct.Pull = GPIO_NOPULL;
  GPIO_InitStruct.Speed = GPIO_SPEED_FREQ_LOW;
  HAL_GPIO_Init(GPIOB, &GPIO_InitStruct);

  /*Configure GPIO pin : AN_T1_Pin */
  GPIO_InitStruct.Pin = AN_T1_Pin;
  GPIO_InitStruct.Mode = GPIO_MODE_ANALOG;
  GPIO_InitStruct.Pull = GPIO_NOPULL;
  HAL_GPIO_Init(AN_T1_GPIO_Port, &GPIO_InitStruct);

  /* EXTI interrupt init*/
  HAL_NVIC_SetPriority(EXTI0_IRQn, 0, 0);
  HAL_NVIC_EnableIRQ(EXTI0_IRQn);

}

/* USER CODE BEGIN 4 */
void PIDInit(PID *pid)
{
	// basic variables
	pid->Ts = 0.2f;
	pid->tempAVGThermo1 = 0.0f;
	pid->tempAVGThermo2 = 0.0f;
	pid->e0 = 0;
	pid->e1 = 0;
	pid->e2 = 0;
	pid->tempDelta = 0.2f;
	pid->outputMax = 100;
	pid->outputMin = 0;
	pid->output = 0;

	// fancy pid (overkill for process that slow)
	pid->N = 0;
	pid->A0 = ovenParameters.Kp + ovenParameters.Ki * pid->Ts;
	pid->A1 = -ovenParameters.Kp;
	pid->A0d = ovenParameters.Kd / pid->Ts;
	pid->A1d = -2.0 * ovenParameters.Kd / pid->Ts;
	pid->A2d = ovenParameters.Kd / pid->Ts;
	pid->tau = ovenParameters.Kd / (ovenParameters.Kp * pid->N); // IIR filter time constant
	pid->alpha = pid->Ts / (2 * pid->tau);
	pid->d0 = 0;
	pid->d1 = 0;
	pid->fd0 = 0;
	pid->fd1 = 0;
}

uint32_t PIDcalculation(PID *pid, float* setPoint)
{

	// PID with IIR //
	/*
	// Implemented only with one thermocouple
	pid->e2 = pid->e1;
	pid->e1 = pid->e0;
	pid->e0 = *setPoint - pid->tempAVGThermo1;

	// PI
	pid->output = pid->output + pid->A0 * pid->e0 + pid->A1 * pid->e1;

	// Filtered D
	pid->d1 = pid->d0;
	pid->d0 = pid->A0d * pid->e0 + pid->A1d * pid->e1 + pid->A2d * pid->e2;
	pid->fd1 = pid->fd0;
	pid->fd0 = ((pid->alpha)/(pid->alpha + 1)) * (pid->d0 + pid->d1) - ((pid->alpha - 1) / (pid->alpha + 1)) * pid->fd1;

	// End output
	pid->output = pid->output + pid->fd0;
	*/

	// Clasic PID //

	// Error
	pid->e0 = *setPoint - pid->tempAVGThermo1;

	float pid_P = ovenParameters.Kp * pid->e0 ;		// P

	pid->e1 += pid->e0 * pid->Ts;					// I
	float pid_I = ovenParameters.Ki * pid->e1;

	float pid_d1 = (pid->e0 - pid->e1) / pid->Ts;	// D
	float pid_D = ovenParameters.Kd * pid_d1;

	pid->output = pid_P + pid_I + pid_D;

	pid->e1 = pid->e0;

	// Limit output value
	if (pid->output >= pid->outputMax)
	{
		pid->output = pid->outputMax;
	}
	else if (pid->output <= pid->outputMin)
	{
		pid->output = pid->outputMin;
	}

	// Duty cycle to CCR2
	// 2^16 = 65536 / 100 = 655.36

	return (uint32_t)(round(pid->output) * 655);
}

// Write variables to external flash
void WriteVarToFlash()
{
	// Buffer for saving data
	uint8_t dataToSave[200] = {0};

	// Offset for shifting data in buffer
	uint32_t offset = 0;

	// Save firstBoot
	memcpy(dataToSave + offset, &ovenParameters.firstBoot, sizeof(ovenParameters.firstBoot));
	offset += sizeof(ovenParameters.firstBoot);

	// Save profileNoSelected
	memcpy(dataToSave + offset, &ovenParameters.profileNoSelected, sizeof(ovenParameters.profileNoSelected));
	offset += sizeof(ovenParameters.profileNoSelected);

	// Save lastUsedMode
	memcpy(dataToSave + offset, &ovenParameters.lastUsedMode, sizeof(ovenParameters.lastUsedMode));
	offset += sizeof(ovenParameters.lastUsedMode);

	// Save dualProbes
	memcpy(dataToSave + offset, &ovenParameters.dualProbes, sizeof(ovenParameters.dualProbes));
	offset += sizeof(ovenParameters.dualProbes);

	// Save dualSSRs
	memcpy(dataToSave + offset, &ovenParameters.dualSSRs, sizeof(ovenParameters.dualSSRs));
	offset += sizeof(ovenParameters.dualSSRs);

	// Save units
	memcpy(dataToSave + offset, &ovenParameters.units, sizeof(ovenParameters.units));
	offset += sizeof(ovenParameters.units);

	// Save AUX1
	memcpy(dataToSave + offset, &ovenParameters.AUX1, sizeof(ovenParameters.AUX1));
	offset += sizeof(ovenParameters.AUX1);

	// Save AUX2
	memcpy(dataToSave + offset, &ovenParameters.AUX2, sizeof(ovenParameters.AUX2));
	offset += sizeof(ovenParameters.AUX2);

	// Save Kp
	memcpy(dataToSave + offset, &ovenParameters.Kp, sizeof(ovenParameters.Kp));
	offset += sizeof(ovenParameters.Kp);

	// Save Ki
	memcpy(dataToSave + offset, &ovenParameters.Ki, sizeof(ovenParameters.Ki));
	offset += sizeof(ovenParameters.Ki);

	// Save Kd
	memcpy(dataToSave + offset, &ovenParameters.Kd, sizeof(ovenParameters.Kd));
	offset += sizeof(ovenParameters.Kd);

	// Save Drying settings
	memcpy(dataToSave + offset, &dryPreset.dryTemp, sizeof(dryPreset.dryTemp));
	offset += sizeof(dryPreset.dryTemp);

	memcpy(dataToSave + offset, &dryPreset.dryTime, sizeof(dryPreset.dryTime));
	offset += sizeof(dryPreset.dryTime);

	// Save Reflow profile 1
	for (int i = 0; i < 5; i++)
	{
		memcpy(dataToSave + offset, &reflowProfiles.profile1Temp[i], sizeof(reflowProfiles.profile1Temp[i]));
		offset += sizeof(reflowProfiles.profile1Temp[i]);

		memcpy(dataToSave + offset, &reflowProfiles.profile1Time[i], sizeof(reflowProfiles.profile1Time[i]));
		offset += sizeof(reflowProfiles.profile1Time[i]);
	}

	// Save Reflow profile 2
	for (int i = 0; i < 5; i++)
	{
		memcpy(dataToSave + offset, &reflowProfiles.profile2Temp[i], sizeof(reflowProfiles.profile2Temp[i]));
		offset += sizeof(reflowProfiles.profile2Temp[i]);

		memcpy(dataToSave + offset, &reflowProfiles.profile2Time[i], sizeof(reflowProfiles.profile2Time[i]));
		offset += sizeof(reflowProfiles.profile2Time[i]);
	}

	// Save Reflow profile 3
	for (int i = 0; i < 5; i++)
	{
		memcpy(dataToSave + offset, &reflowProfiles.profile3Temp[i], sizeof(reflowProfiles.profile3Temp[i]));
		offset += sizeof(reflowProfiles.profile3Temp[i]);

		memcpy(dataToSave + offset, &reflowProfiles.profile3Time[i], sizeof(reflowProfiles.profile3Time[i]));
		offset += sizeof(reflowProfiles.profile3Time[i]);
	}

	// Save Reflow profile 4
	for (int i = 0; i < 5; i++)
	{
		memcpy(dataToSave + offset, &reflowProfiles.profile4Temp[i], sizeof(reflowProfiles.profile4Temp[i]));
		offset += sizeof(reflowProfiles.profile4Temp[i]);

		memcpy(dataToSave + offset, &reflowProfiles.profile4Time[i], sizeof(reflowProfiles.profile4Time[i]));
		offset += sizeof(reflowProfiles.profile4Time[i]);
	}

	// Save Reflow profile 5
	for (int i = 0; i < 5; i++)
	{
		memcpy(dataToSave + offset, &reflowProfiles.profile5Temp[i], sizeof(reflowProfiles.profile5Temp[i]));
		offset += sizeof(reflowProfiles.profile5Temp[i]);

		memcpy(dataToSave + offset, &reflowProfiles.profile5Time[i], sizeof(reflowProfiles.profile5Time[i]));
		offset += sizeof(reflowProfiles.profile5Time[i]);
	}

	// Erase area where data will be saved
	Flash_SErase4k(FLASH_START_ADDR);

	Flash_Write(FLASH_START_ADDR, dataToSave, offset);

	ovenParameters.saveFlash = 0;
}

// Read variables from external flash
void ReadVarFromFlash(uint8_t erase)
{
	uint8_t dataRead[200] = {0};

	Flash_Read(FLASH_START_ADDR, dataRead, sizeof(dataRead));

	uint32_t offset = 0;

	// Read firstBoot
	memcpy(&ovenParameters.firstBoot, dataRead + offset, sizeof(ovenParameters.firstBoot));
	offset += sizeof(ovenParameters.firstBoot);

	if (erase != 1)
	{
		// Read profileNoSelected
		memcpy(&ovenParameters.profileNoSelected, dataRead + offset, sizeof(ovenParameters.profileNoSelected));
		offset += sizeof(ovenParameters.profileNoSelected);

		// Read lastUsedMode
		memcpy(&ovenParameters.lastUsedMode, dataRead + offset, sizeof(ovenParameters.lastUsedMode));
		offset += sizeof(ovenParameters.lastUsedMode);

		// Read dualProbes
		memcpy(&ovenParameters.dualProbes, dataRead + offset, sizeof(ovenParameters.dualProbes));
		offset += sizeof(ovenParameters.dualProbes);

		// Read dualSSRs
		memcpy(&ovenParameters.dualSSRs, dataRead + offset, sizeof(ovenParameters.dualSSRs));
		offset += sizeof(ovenParameters.dualSSRs);

		// Read units
		memcpy(&ovenParameters.units, dataRead + offset, sizeof(ovenParameters.units));
		offset += sizeof(ovenParameters.units);

		// Read AUX1
		memcpy(&ovenParameters.AUX1,  dataRead + offset, sizeof(ovenParameters.AUX1));
		offset += sizeof(ovenParameters.AUX1);

		// Read AUX2
		memcpy(&ovenParameters.AUX2, dataRead + offset, sizeof(ovenParameters.AUX2));
		offset += sizeof(ovenParameters.AUX2);

		// Read Kp
		memcpy(&ovenParameters.Kp, dataRead + offset, sizeof(ovenParameters.Kp));
		offset += sizeof(ovenParameters.Kp);

		// Read Ki
		memcpy(&ovenParameters.Ki, dataRead + offset, sizeof(ovenParameters.Ki));
		offset += sizeof(ovenParameters.Ki);

		// Read Kd
		memcpy(&ovenParameters.Kd, dataRead + offset, sizeof(ovenParameters.Kd));
		offset += sizeof(ovenParameters.Kd);

		// Read Drying settings
		memcpy(&dryPreset.dryTemp, dataRead + offset, sizeof(dryPreset.dryTemp));
		offset += sizeof(dryPreset.dryTemp);

		memcpy(&dryPreset.dryTime, dataRead + offset, sizeof(dryPreset.dryTime));
		offset += sizeof(dryPreset.dryTime);

		// Read Reflow profile 1
		for (int i = 0; i < 5; i++)
		{
			memcpy(&reflowProfiles.profile1Temp[i], dataRead + offset, sizeof(reflowProfiles.profile1Temp[i]));
			offset += sizeof(reflowProfiles.profile1Temp[i]);

			memcpy(&reflowProfiles.profile1Time[i], dataRead + offset, sizeof(reflowProfiles.profile1Time[i]));
			offset += sizeof(reflowProfiles.profile1Time[i]);
		}

		// Read Reflow profile 2
		for (int i = 0; i < 5; i++)
		{
			memcpy(&reflowProfiles.profile2Temp[i], dataRead + offset, sizeof(reflowProfiles.profile2Temp[i]));
			offset += sizeof(reflowProfiles.profile2Temp[i]);

			memcpy(&reflowProfiles.profile2Time[i], dataRead + offset, sizeof(reflowProfiles.profile2Time[i]));
			offset += sizeof(reflowProfiles.profile2Time[i]);
		}

		// Read Reflow profile 3
		for (int i = 0; i < 5; i++)
		{
			memcpy(&reflowProfiles.profile3Temp[i], dataRead + offset, sizeof(reflowProfiles.profile3Temp[i]));
			offset += sizeof(reflowProfiles.profile3Temp[i]);

			memcpy( &reflowProfiles.profile3Time[i], dataRead + offset, sizeof(reflowProfiles.profile3Time[i]));
			offset += sizeof(reflowProfiles.profile3Time[i]);
		}

		// Read Reflow profile 4
		for (int i = 0; i < 5; i++)
		{
			memcpy(&reflowProfiles.profile4Temp[i], dataRead + offset, sizeof(reflowProfiles.profile4Temp[i]));
			offset += sizeof(reflowProfiles.profile4Temp[i]);

			memcpy(&reflowProfiles.profile4Time[i], dataRead + offset, sizeof(reflowProfiles.profile4Time[i]));
			offset += sizeof(reflowProfiles.profile4Time[i]);
		}

		// Read Reflow profile 5
		for (int i = 0; i < 5; i++)
		{
			memcpy(&reflowProfiles.profile5Temp[i], dataRead + offset, sizeof(reflowProfiles.profile5Temp[i]));
			offset += sizeof(reflowProfiles.profile5Temp[i]);

			memcpy(&reflowProfiles.profile5Time[i], dataRead + offset, sizeof(reflowProfiles.profile5Time[i]));
			offset += sizeof(reflowProfiles.profile5Time[i]);
		}
	}
}

/* USER CODE END 4 */

void Error_Handler(void)
{
  __disable_irq();
  while (1)
  {
  }
}
